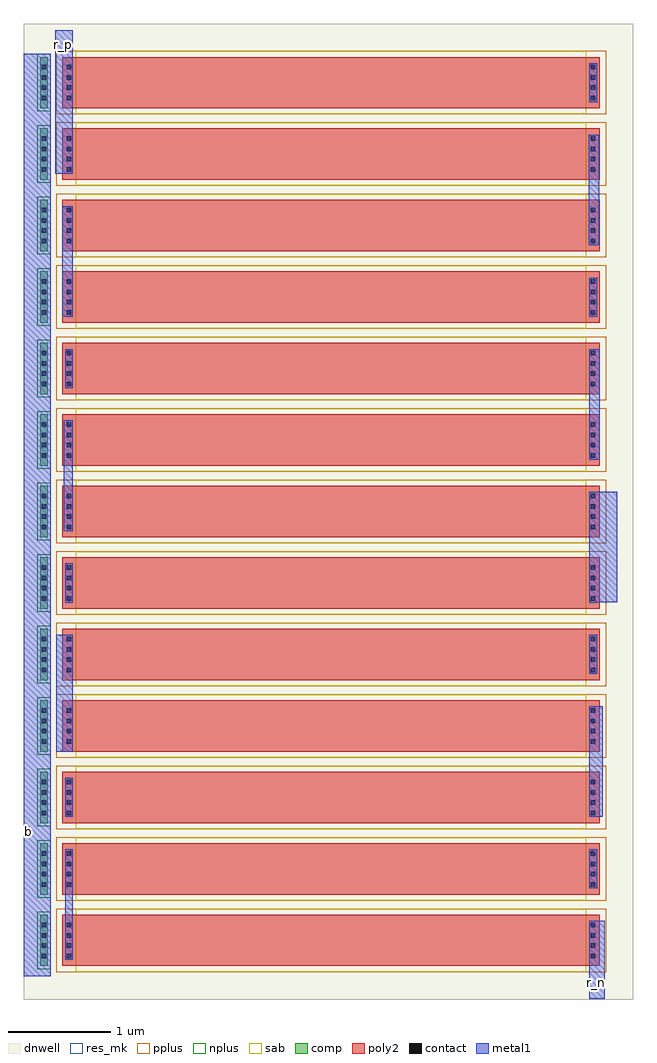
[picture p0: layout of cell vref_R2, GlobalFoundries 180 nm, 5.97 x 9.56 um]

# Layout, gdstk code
import gdstk
lib = gdstk.Library(unit=1e-6, precision=1e-09)
def R(c, l, rs):  # rectangles x0, y0, x1, y1
    for r in rs: c.add(gdstk.rectangle(r[:2], r[2:], *l))
def A(c, l, x, y, w, h, nx, ny, dx, dy):  # array of equal rectangles
    R(c, l, [(x+i*dx, y+j*dy, x+i*dx+w, y+j*dy+h) for i in range(nx) for j in range(ny)])
dnwell = (12, 0)
comp = (22, 0)
poly2 = (30, 0)
pplus = (31, 0)
nplus = (32, 0)
contact = (33, 0)
metal1 = (34, 0)
sab = (49, 0)
res_mk = (110, 5)

ppolyf_u_resistor = lib.new_cell('ppolyf_u_resistor')
A(ppolyf_u_resistor, dnwell, -0.512, -0.328, 5.972, 1.156, 1, 13, 0, 0.7)
A(ppolyf_u_resistor, comp, -0.348, 0, 0.072, 0.5, 1, 13, 0, 0.7)
A(ppolyf_u_resistor, poly2, -0.132, 0, 5.264, 0.5, 1, 13, 0, 0.7)
A(ppolyf_u_resistor, pplus, -0.192, -0.06, 5.384, 0.62, 1, 13, 0, 0.7)
A(ppolyf_u_resistor, nplus, -0.38, -0.032, 0.136, 0.564, 1, 13, 0, 0.7)
A(ppolyf_u_resistor, contact, -0.334, 0.075, 0.044, 0.044, 1, 4, 0, 0.102)
A(ppolyf_u_resistor, contact, -0.088, 0.075, 0.044, 0.044, 1, 4, 0, 0.102)
A(ppolyf_u_resistor, contact, 5.044, 0.075, 0.044, 0.044, 1, 4, 0, 0.102)
A(ppolyf_u_resistor, contact, -0.334, 0.775, 0.044, 0.044, 1, 4, 0, 0.102)
A(ppolyf_u_resistor, contact, -0.088, 0.775, 0.044, 0.044, 1, 4, 0, 0.102)
A(ppolyf_u_resistor, contact, 5.044, 0.775, 0.044, 0.044, 1, 4, 0, 0.102)
A(ppolyf_u_resistor, contact, -0.334, 1.475, 0.044, 0.044, 1, 4, 0, 0.102)
A(ppolyf_u_resistor, contact, -0.088, 1.475, 0.044, 0.044, 1, 4, 0, 0.102)
A(ppolyf_u_resistor, contact, 5.044, 1.475, 0.044, 0.044, 1, 4, 0, 0.102)
A(ppolyf_u_resistor, contact, -0.334, 2.175, 0.044, 0.044, 1, 4, 0, 0.102)
A(ppolyf_u_resistor, contact, -0.088, 2.175, 0.044, 0.044, 1, 4, 0, 0.102)
A(ppolyf_u_resistor, contact, 5.044, 2.175, 0.044, 0.044, 1, 4, 0, 0.102)
A(ppolyf_u_resistor, contact, -0.334, 2.875, 0.044, 0.044, 1, 4, 0, 0.102)
A(ppolyf_u_resistor, contact, -0.088, 2.875, 0.044, 0.044, 1, 4, 0, 0.102)
A(ppolyf_u_resistor, contact, 5.044, 2.875, 0.044, 0.044, 1, 4, 0, 0.102)
A(ppolyf_u_resistor, contact, -0.334, 3.575, 0.044, 0.044, 1, 4, 0, 0.102)
A(ppolyf_u_resistor, contact, -0.088, 3.575, 0.044, 0.044, 1, 4, 0, 0.102)
A(ppolyf_u_resistor, contact, 5.044, 3.575, 0.044, 0.044, 1, 4, 0, 0.102)
A(ppolyf_u_resistor, contact, -0.334, 4.275, 0.044, 0.044, 1, 4, 0, 0.102)
A(ppolyf_u_resistor, contact, -0.088, 4.275, 0.044, 0.044, 1, 4, 0, 0.102)
A(ppolyf_u_resistor, contact, 5.044, 4.275, 0.044, 0.044, 1, 4, 0, 0.102)
A(ppolyf_u_resistor, contact, -0.334, 4.975, 0.044, 0.044, 1, 4, 0, 0.102)
A(ppolyf_u_resistor, contact, -0.088, 4.975, 0.044, 0.044, 1, 4, 0, 0.102)
A(ppolyf_u_resistor, contact, 5.044, 4.975, 0.044, 0.044, 1, 4, 0, 0.102)
A(ppolyf_u_resistor, contact, -0.334, 5.675, 0.044, 0.044, 1, 4, 0, 0.102)
A(ppolyf_u_resistor, contact, -0.088, 5.675, 0.044, 0.044, 1, 4, 0, 0.102)
A(ppolyf_u_resistor, contact, 5.044, 5.675, 0.044, 0.044, 1, 4, 0, 0.102)
A(ppolyf_u_resistor, contact, -0.334, 6.375, 0.044, 0.044, 1, 4, 0, 0.102)
A(ppolyf_u_resistor, contact, -0.088, 6.375, 0.044, 0.044, 1, 4, 0, 0.102)
A(ppolyf_u_resistor, contact, 5.044, 6.375, 0.044, 0.044, 1, 4, 0, 0.102)
A(ppolyf_u_resistor, contact, -0.334, 7.075, 0.044, 0.044, 1, 4, 0, 0.102)
A(ppolyf_u_resistor, contact, -0.088, 7.075, 0.044, 0.044, 1, 4, 0, 0.102)
A(ppolyf_u_resistor, contact, 5.044, 7.075, 0.044, 0.044, 1, 4, 0, 0.102)
A(ppolyf_u_resistor, contact, -0.334, 7.775, 0.044, 0.044, 1, 4, 0, 0.102)
A(ppolyf_u_resistor, contact, -0.088, 7.775, 0.044, 0.044, 1, 4, 0, 0.102)
A(ppolyf_u_resistor, contact, 5.044, 7.775, 0.044, 0.044, 1, 4, 0, 0.102)
A(ppolyf_u_resistor, contact, -0.334, 8.475, 0.044, 0.044, 1, 4, 0, 0.102)
A(ppolyf_u_resistor, contact, -0.088, 8.475, 0.044, 0.044, 1, 4, 0, 0.102)
A(ppolyf_u_resistor, contact, 5.044, 8.475, 0.044, 0.044, 1, 4, 0, 0.102)
A(ppolyf_u_resistor, metal1, -0.35, 0.059, 0.076, 0.382, 1, 13, 0, 0.7)
A(ppolyf_u_resistor, metal1, -0.104, 0.059, 0.076, 0.382, 1, 13, 0, 0.7)
A(ppolyf_u_resistor, metal1, 5.028, 0.059, 0.076, 0.382, 1, 13, 0, 0.7)
A(ppolyf_u_resistor, sab, 0, -0.056, 5, 0.612, 1, 13, 0, 0.7)
A(ppolyf_u_resistor, res_mk, 0, 0, 5, 0.5, 1, 13, 0, 0.7)

vref_r2 = lib.new_cell('vref_R2')
R(vref_r2, metal1, [(4.888,-0.3,5.04,0.461), (-0.652,-0.08,-0.384,8.952), (-0.244,0.08,-0.168,1.161), (4.888,1.48,5.02,2.561), (-0.332,2.12,-0.168,3.261), (4.888,3.58,5.16,4.661), (-0.26,4.28,-0.168,5.36), (4.888,4.98,4.992,6.061), (-0.272,6.38,-0.168,7.46), (4.88,7.08,4.984,8.161), (-0.34,7.779,-0.168,9.18)])
vref_r2.add(gdstk.Reference(ppolyf_u_resistor, (-0.14,0.02)))
vref_r2.add(gdstk.Label('r_n', (4.96,-0.14), layer=34, texttype=10))
vref_r2.add(gdstk.Label('b', (-0.6,1.34), layer=34, texttype=10))
vref_r2.add(gdstk.Label('r_p', (-0.26,9.04), layer=34, texttype=10))

lib.write_gds('vref_R2.gds')
